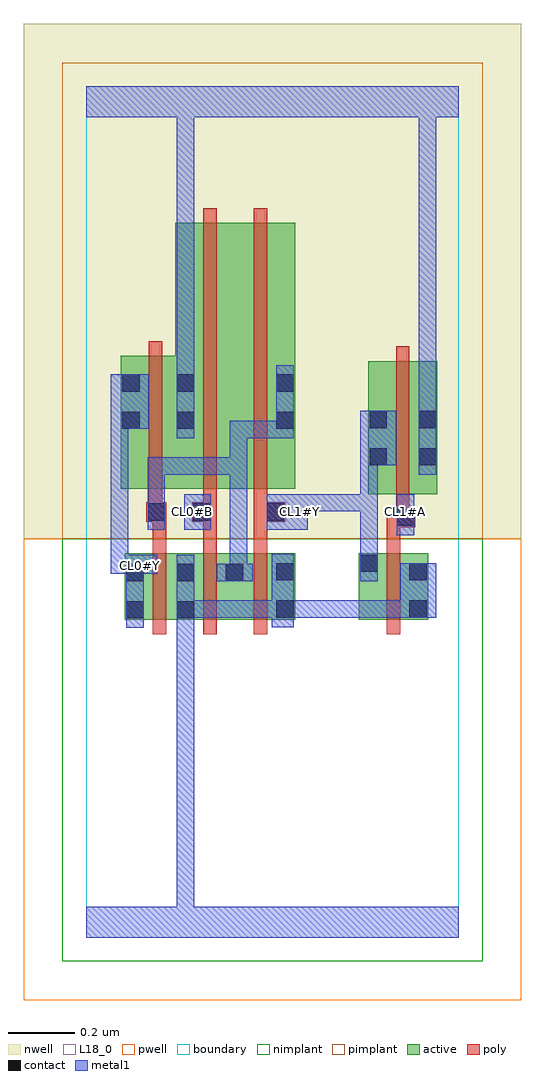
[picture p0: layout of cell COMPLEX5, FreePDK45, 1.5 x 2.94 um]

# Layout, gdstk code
import gdstk
lib = gdstk.Library(unit=1e-6, precision=1e-09)
def R(c, l, rs):  # rectangles x0, y0, x1, y1
    for r in rs: c.add(gdstk.rectangle(r[:2], r[2:], *l))
def A(c, l, x, y, w, h, nx, ny, dx, dy):  # array of equal rectangles
    R(c, l, [(x+i*dx, y+j*dy, x+i*dx+w, y+j*dy+h) for i in range(nx) for j in range(ny)])
active = (1, 0)
pwell = (2, 0)
nwell = (3, 0)
nimplant = (4, 0)
pimplant = (5, 0)
poly = (9, 0)
contact = (10, 0)
metal1 = (11, 0)
L18_0 = (18, 0)
boundary = (235, 0)

complex5 = lib.new_cell('COMPLEX5')
R(complex5, active, [(0.116,0.956,0.176,1.156), (0.116,0.956,0.328,1.156), (0.268,0.956,0.476,1.156), (0.268,0.956,0.328,1.128), (0.416,0.956,0.628,1.156), (0.416,0.956,0.476,1.128), (0.568,0.956,0.628,1.156), (0.82,0.956,0.88,1.156), (0.82,0.956,1.028,1.156), (0.968,0.956,1.028,1.156), (0.848,1.334,0.908,1.734), (0.848,1.334,1.056,1.734), (0.996,1.334,1.056,1.734), (0.104,1.35,0.164,1.75), (0.104,1.35,0.328,1.75), (0.268,1.35,0.448,2.15), (0.448,1.35,0.628,2.15), (0.568,1.35,0.628,2.15), (0.268,1.366,0.328,1.8)])
R(complex5, pwell, [(-0.188,-0.188,1.308,1.2)])
R(complex5, nwell, [(-0.188,1.2,1.308,2.748)])
R(complex5, nimplant, [(-0.072,-0.072,1.192,1.2)])
R(complex5, pimplant, [(-0.072,1.2,1.192,2.632)])
A(complex5, poly, 0.2, 0.912, 0.04, 0.288, 3, 1, 0.152, 0)
A(complex5, poly, 0.2, 1.16, 0.04, 0.13, 3, 1, 0.152, 0)
R(complex5, poly, [(0.904,0.912,0.944,1.2), (0.904,1.16,0.944,1.274), (0.904,1.234,0.97,1.274), (0.93,1.234,0.97,1.274), (0.93,1.234,0.99,1.294), (0.18,1.25,0.24,1.31), (0.2,1.25,0.24,1.29), (0.2,1.25,0.24,1.29), (0.318,1.25,0.392,1.31), (0.504,1.25,0.544,1.29), (0.504,1.25,0.544,1.29), (0.504,1.25,0.598,1.31), (0.932,1.254,0.972,1.33), (0.188,1.27,0.228,1.346), (0.352,1.27,0.392,1.346), (0.352,1.27,0.392,1.31), (0.352,1.27,0.392,1.31), (0.504,1.27,0.544,1.346), (0.932,1.29,0.972,1.778), (0.188,1.306,0.228,1.794), (0.352,1.306,0.392,2.194), (0.504,1.306,0.544,2.194)])
R(complex5, contact, [(0.12,0.96,0.172,1.012), (0.272,0.96,0.324,1.012), (0.572,0.962,0.624,1.014), (0.972,0.962,1.024,1.014), (0.12,1.072,0.172,1.124), (0.272,1.072,0.324,1.124), (0.42,1.072,0.472,1.124), (0.572,1.074,0.624,1.126), (0.972,1.074,1.024,1.126), (0.824,1.1,0.876,1.152), (0.934,1.238,0.986,1.29), (0.184,1.254,0.236,1.306), (0.322,1.254,0.374,1.306), (0.542,1.254,0.594,1.306), (0.852,1.42,0.904,1.472), (1,1.42,1.052,1.472), (0.108,1.53,0.16,1.582), (0.272,1.53,0.324,1.582), (0.572,1.53,0.624,1.582), (0.852,1.532,0.904,1.584), (1,1.532,1.052,1.584), (0.108,1.642,0.16,1.694), (0.272,1.642,0.324,1.694), (0.572,1.642,0.624,1.694)])
R(complex5, metal1, [(0,0,1.12,0.092), (0.272,0.04,0.324,0.092), (0.272,0.04,0.324,0.092), (0.272,0.04,0.324,0.092), (0.272,0.04,0.324,0.092), (0.272,0.04,0.324,0.092), (0.272,0.04,0.324,0.092), (0.272,0.04,0.324,0.092), (0.272,0.04,0.324,0.092), (0.272,0.04,0.324,0.092), (0.272,0.04,0.324,0.092), (0.272,0.04,0.324,0.092), (0.272,0.04,0.324,0.092), (0.272,0.04,0.324,0.092), (0.272,0.04,0.324,0.092), (0.272,0.04,0.324,0.984), (0.12,0.932,0.172,1.152), (0.272,0.932,0.324,0.984), (0.272,0.932,0.324,0.984), (0.272,0.932,0.324,1.152), (0.558,0.934,0.624,1.154), (0.272,0.962,0.434,1.014), (0.382,0.962,0.434,1.014), (0.382,0.962,0.434,1.014), (0.382,0.962,0.434,1.014), (0.382,0.962,0.61,1.014), (0.558,0.962,0.61,1.014), (0.558,0.962,0.61,1.014), (0.572,0.962,0.886,1.014), (0.834,0.962,0.886,1.014), (0.834,0.962,0.996,1.014), (0.944,0.962,0.996,1.014), (0.944,0.962,0.996,1.014), (0.944,0.962,1.052,1.126), (0.392,1.072,0.5,1.124), (0.432,1.072,0.484,1.124), (0.432,1.072,0.484,1.124), (0.432,1.072,0.484,1.444), (0.824,1.072,0.876,1.18), (0.074,1.094,0.214,1.152), (0.12,1.094,0.172,1.146), (0.074,1.1,0.126,1.582), (0.824,1.128,0.876,1.334), (0.934,1.21,0.986,1.334), (0.184,1.226,0.236,1.334), (0.294,1.226,0.374,1.334), (0.542,1.226,0.666,1.334), (0.184,1.282,0.236,1.334), (0.184,1.282,0.236,1.444), (0.614,1.282,0.876,1.334), (0.824,1.282,0.876,1.334), (0.824,1.282,0.876,1.334), (0.824,1.282,0.876,1.334), (0.824,1.282,0.876,1.334), (0.824,1.282,0.876,1.334), (0.824,1.282,0.876,1.472), (0.184,1.392,0.484,1.444), (0.432,1.392,0.484,1.444), (0.432,1.392,0.484,1.444), (0.432,1.392,0.484,1.444), (0.432,1.392,0.484,1.554), (1,1.392,1.052,1.612), (0.824,1.42,0.932,1.584), (0.272,1.502,0.324,1.722), (0.432,1.502,0.484,1.554), (0.432,1.502,0.624,1.554), (0.572,1.502,0.624,1.554), (0.572,1.502,0.624,1.554), (0.572,1.502,0.624,1.722), (0.074,1.53,0.126,1.582), (0.074,1.53,0.126,1.582), (0.074,1.53,0.188,1.694), (1,1.56,1.052,2.52), (0.272,1.67,0.324,2.52), (0,2.468,1.12,2.56), (0.272,2.468,0.324,2.52), (0.272,2.468,0.324,2.52), (0.272,2.468,0.324,2.52), (0.272,2.468,0.324,2.52), (0.272,2.468,0.324,2.52), (0.272,2.468,0.324,2.52), (0.272,2.468,0.324,2.52), (0.272,2.468,0.324,2.52), (1,2.468,1.052,2.52), (1,2.468,1.052,2.52), (1,2.468,1.052,2.52), (1,2.468,1.052,2.52), (1,2.468,1.052,2.52), (1,2.468,1.052,2.52), (1,2.468,1.052,2.52), (1,2.468,1.052,2.52), (1,2.468,1.052,2.52), (1,2.468,1.052,2.52), (1,2.468,1.052,2.52), (1,2.468,1.052,2.52), (1,2.468,1.052,2.52), (1,2.468,1.052,2.52), (1,2.468,1.052,2.52), (1,2.468,1.052,2.52)])
A(complex5, L18_0, 0.294, 1.254, 0.052, 0.052, 3, 1, 0.32, 0)
R(complex5, L18_0, [(0,0,1.12,0.092), (0.272,0.04,0.324,0.092), (0.272,0.04,0.324,0.092), (0.272,0.04,0.324,0.092), (0.272,0.04,0.324,0.092), (0.272,0.04,0.324,0.092), (0.272,0.04,0.324,0.092), (0.272,0.04,0.324,0.092), (0.272,0.04,0.324,0.092), (0.272,0.04,0.324,0.092), (0.272,0.04,0.324,0.092), (0.272,0.04,0.324,0.092), (0.272,0.04,0.324,0.092), (0.272,0.04,0.324,0.092), (0.272,0.04,0.324,0.092), (0.272,0.04,0.324,0.984), (0.12,0.932,0.172,1.152), (0.272,0.932,0.324,1.152), (0.272,0.932,0.324,0.984), (0.272,0.932,0.324,0.984), (0.558,0.934,0.624,1.154), (0.272,0.962,0.434,1.014), (0.382,0.962,0.434,1.014), (0.382,0.962,0.434,1.014), (0.382,0.962,0.434,1.014), (0.382,0.962,0.61,1.014), (0.558,0.962,0.61,1.014), (0.558,0.962,0.61,1.014), (0.572,0.962,0.886,1.014), (0.834,0.962,0.886,1.014), (0.834,0.962,0.996,1.014), (0.944,0.962,0.996,1.014), (0.944,0.962,0.996,1.014), (0.944,0.962,1.052,1.126), (0.824,1.072,0.876,1.18), (0.074,1.094,0.214,1.152), (0.12,1.094,0.172,1.146), (0.134,1.094,0.186,1.146), (0.074,1.1,0.126,1.582), (0.824,1.128,0.876,1.334), (0.934,1.21,0.986,1.334), (0.294,1.226,0.374,1.334), (0.542,1.226,0.666,1.334), (0.614,1.282,0.876,1.334), (0.824,1.282,0.876,1.334), (0.824,1.282,0.876,1.334), (0.824,1.282,0.876,1.334), (0.824,1.282,0.876,1.334), (0.824,1.282,0.876,1.334), (0.824,1.282,0.876,1.472), (1,1.392,1.052,1.612), (0.824,1.42,0.932,1.584), (0.272,1.502,0.324,1.722), (0.074,1.53,0.126,1.582), (0.074,1.53,0.126,1.582), (0.074,1.53,0.188,1.694), (1,1.56,1.052,2.52), (0.272,1.67,0.324,2.52), (0,2.468,1.12,2.56), (0.272,2.468,0.324,2.52), (0.272,2.468,0.324,2.52), (0.272,2.468,0.324,2.52), (0.272,2.468,0.324,2.52), (0.272,2.468,0.324,2.52), (0.272,2.468,0.324,2.52), (0.272,2.468,0.324,2.52), (0.272,2.468,0.324,2.52), (1,2.468,1.052,2.52), (1,2.468,1.052,2.52), (1,2.468,1.052,2.52), (1,2.468,1.052,2.52), (1,2.468,1.052,2.52), (1,2.468,1.052,2.52), (1,2.468,1.052,2.52), (1,2.468,1.052,2.52), (1,2.468,1.052,2.52), (1,2.468,1.052,2.52), (1,2.468,1.052,2.52), (1,2.468,1.052,2.52), (1,2.468,1.052,2.52), (1,2.468,1.052,2.52), (1,2.468,1.052,2.52), (1,2.468,1.052,2.52)])
R(complex5, boundary, [(0,0,1.12,2.56)])
complex5.add(gdstk.Label('CL0#B', (0.32,1.28), layer=11, texttype=0))
complex5.add(gdstk.Label('CL0#Y', (0.16,1.12), layer=11, texttype=0))
complex5.add(gdstk.Label('CL1#A', (0.96,1.28), layer=11, texttype=0))
complex5.add(gdstk.Label('CL1#Y', (0.64,1.28), layer=11, texttype=0))

lib.write_gds('COMPLEX5.gds')
